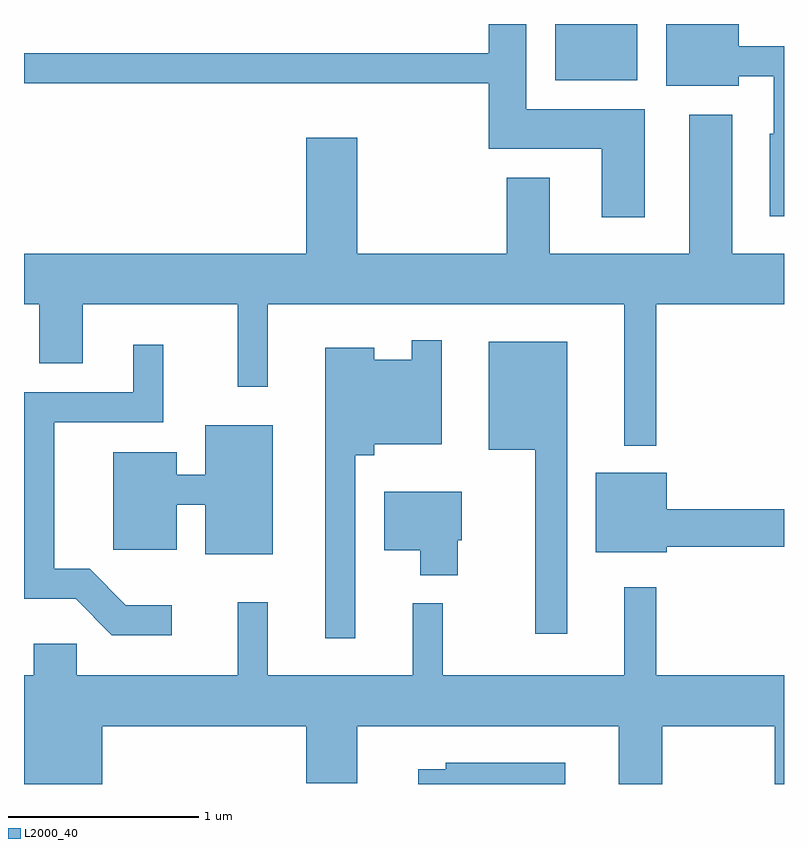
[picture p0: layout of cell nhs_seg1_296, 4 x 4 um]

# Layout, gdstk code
import gdstk
lib = gdstk.Library(unit=1e-6, precision=1e-09)
def R(c, l, rs):  # rectangles x0, y0, x1, y1
    for r in rs: c.add(gdstk.rectangle(r[:2], r[2:], *l))
def P(c, l, *ps):  # polygons
    for p in ps: c.add(gdstk.Polygon(p, *l))
L2000_40 = (2000, 40)

nhs_seg1_296 = lib.new_cell('nhs_seg1_296')
R(nhs_seg1_296, L2000_40, [(196.406,907.416,196.839,907.712)])
P(nhs_seg1_296, L2000_40, [(197.611,907.594),(197.374,907.594),(197.374,907.712),(196.991,907.712),(196.991,907.386),(197.374,907.386),(197.374,907.436),(197.556,907.436),(197.556,907.134),(197.536,907.134),(197.536,906.701),(197.611,906.701)],
  [(196.879,907.264),(196.254,907.264),(196.254,907.712),(196.056,907.712),(196.056,907.559),(193.611,907.559),(193.611,907.401),(196.056,907.401),(196.056,907.056),(196.651,907.056),(196.651,906.696),(196.879,906.696)],
  [(196.939,906.236),(197.611,906.236),(197.611,906.504),(197.339,906.504),(197.339,907.234),(197.111,907.234),(197.111,906.504),(196.379,906.504),(196.379,906.904),(196.151,906.904),(196.151,906.504),(195.364,906.504),(195.364,907.114),(195.096,907.114),(195.096,906.504),(193.611,906.504),(193.611,906.236),(193.691,906.236),(193.691,905.926),(193.919,905.926),(193.919,906.236),(194.736,906.236),(194.736,905.803),(194.894,905.803),(194.894,906.236),(196.771,906.236),(196.771,905.493),(196.939,905.493)],
  [(195.354,905.441),(195.454,905.441),(195.454,905.501),(195.809,905.501),(195.809,906.048),(195.651,906.048),(195.651,905.944),(195.454,905.944),(195.454,906.009),(195.196,906.009),(195.196,904.478),(195.354,904.478)],
  [(196.469,906.039),(196.056,906.039),(196.056,905.471),(196.301,905.471),(196.301,904.503),(196.469,904.503)],
  [(194.388,904.654),(194.147,904.654),(193.957,904.844),(193.769,904.844),(193.769,905.616),(194.344,905.616),(194.344,906.023),(194.186,906.023),(194.186,905.774),(193.611,905.774),(193.611,904.686),(193.884,904.686),(194.074,904.496),(194.388,904.496)],
  [(194.919,905.599),(194.566,905.599),(194.566,905.339),(194.414,905.339),(194.414,905.459),(194.081,905.459),(194.081,904.946),(194.414,904.946),(194.414,905.181),(194.566,905.181),(194.566,904.921),(194.919,904.921)],
  [(196.994,904.961),(197.611,904.961),(197.611,905.159),(196.994,905.159),(196.994,905.349),(196.621,905.349),(196.621,904.931),(196.994,904.931)],
  [(195.894,904.996),(195.914,904.996),(195.914,905.249),(195.506,905.249),(195.506,904.941),(195.696,904.941),(195.696,904.811),(195.894,904.811)],
  [(194.024,904.016),(195.096,904.016),(195.096,903.716),(195.364,903.716),(195.364,904.016),(196.741,904.016),(196.741,903.712),(196.969,903.712),(196.969,904.016),(197.561,904.016),(197.561,903.712),(197.611,903.712),(197.611,904.284),(196.939,904.284),(196.939,904.748),(196.771,904.748),(196.771,904.284),(195.814,904.284),(195.814,904.663),(195.656,904.663),(195.656,904.284),(194.894,904.284),(194.894,904.668),(194.736,904.668),(194.736,904.284),(193.889,904.284),(193.889,904.449),(193.661,904.449),(193.661,904.284),(193.611,904.284),(193.611,903.712),(194.024,903.712)],
  [(196.459,903.824),(195.831,903.824),(195.831,903.789),(195.686,903.789),(195.686,903.712),(196.459,903.712)])

lib.write_gds('nhs_seg1_296.gds')
